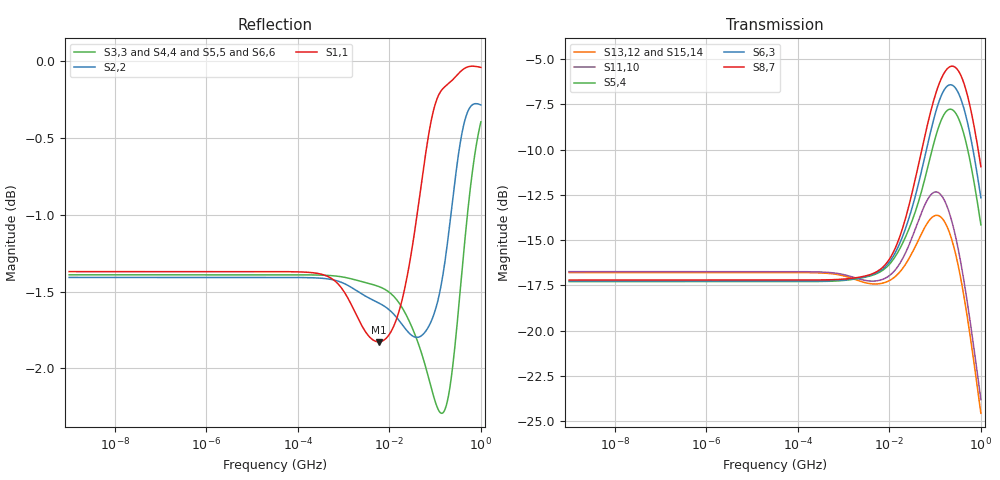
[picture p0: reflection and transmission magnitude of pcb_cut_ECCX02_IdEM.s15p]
! Touchstone data
! Created: 22-Apr-2025 by IdEM 2023 (2023.0.0)
! COMMENTS
!  Touchstone file exported from Ansys Full-Wave Spice
!  Project: 0000_PSI_S-parameter_Sweep
!  Design: unknown
!  Creation time: Tue Apr 22 07:41:11 2025
!  Notes: ! Touchstone(R) file created by SIwave 2025 R1
!  : ! Touchstone(R) file created on Tue Apr 22 07:41:11 2025
!  Modal data exported
!  Port[1] = PORT_1_L19_PWR_VECMX0_Group_U25_GND_Group
!  Port[2] = PORT_2_U1_PWR_VECMX0_Group_U1_GRP_0_0_GND
!  Port[3] = PWR_VECMX0_C445_1
!  Port[4] = PWR_VECMX0_C446_1
!  Port[5] = PWR_VECMX0_C447_1
!  Port[6] = PWR_VECMX0_C448_1
!  Port[7] = PWR_VECMX0_C449_1
!  Port[8] = PWR_VECMX0_C450_1
!  Port[9] = PWR_VECMX0_C636_1
!  Port[10] = PWR_VECMX0_C654_1
!  Port[11] = PWR_VECMX0_C654_3
!  Port[12] = PWR_VECMX0_C655_1
!  Port[13] = PWR_VECMX0_C655_3
!  Port[14] = PWR_VECMX0_C656_1
!  Port[15] = PWR_VECMX0_C656_3
! Options Used in IdEM Flow
! Fitting Options !
! Bandwidth: 1.0000e+09 Hz
! Order: [2 2 6]
! SplitType: none
! tol: 1.0000e-03
! DC Point: enforced
! Passivity Options !
! Alg: SOC+HAM
!  Max SOC it: 200
!  Max HAM it: 50
! Freq sampling: adaptive
! DC Point: enforced
! Optimization method: Model based
# Hz S MA R 0.1
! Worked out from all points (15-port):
!   420 points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, 1 Hz to 1 GHz, reference 0.1 ohm
!   strongest paths, dB at 1 Hz, 3.687 kHz, 11.66 MHz, 482.9 MHz, 1 GHz:
!     S8,7: -17.2, -17.2, -15.8, -6.8, -10.9
!     S6,3: -17.3, -17.3, -16.0, -8.3, -12.7
!     S5,4: -17.3, -17.3, -16.1, -9.7, -14.2
!     S11,10: -16.7, -16.7, -16.8, -18.1, -23.8
!     S13,12: -16.8, -16.8, -17.1, -18.9, -24.6
!     S15,14: -16.8, -16.8, -17.3, -19.0, -24.6
!   lowest |S11| = -1.8 dB at 5.843 MHz (marker M1), VSWR 9.54, Z = 0.0111 + j0.0247 ohm
!   |S11| at or under -10 dB: nowhere
